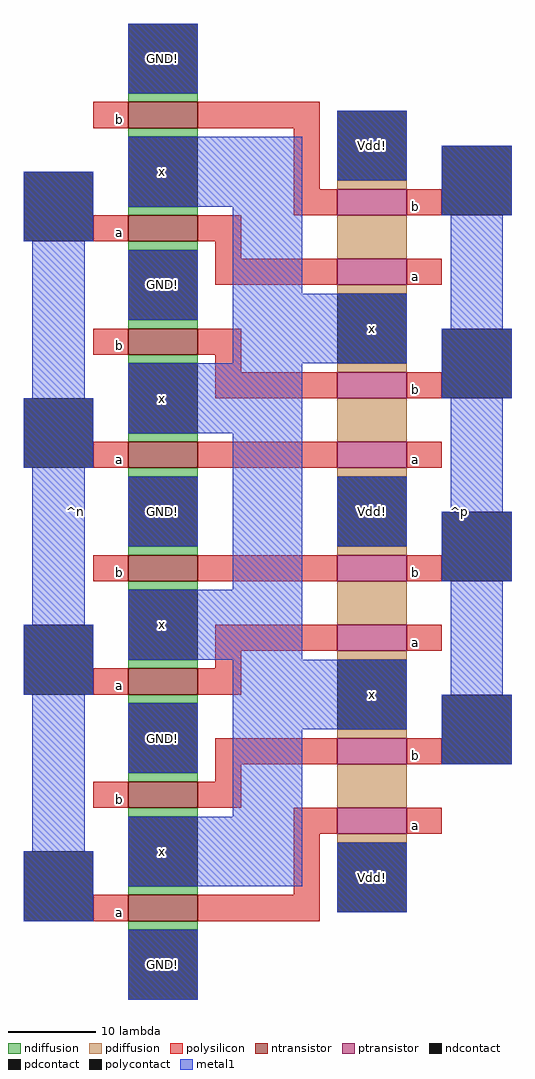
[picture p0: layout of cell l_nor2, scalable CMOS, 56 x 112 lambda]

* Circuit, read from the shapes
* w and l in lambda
.subckt l_nor2 GND! Vdd! a b x
M1 x a GND! VSUBS nfet w=8 l=3 m=4
M2 GND! b x VSUBS nfet w=8 l=3 m=4
M3 n1 a Vdd! NWELL pfet w=8 l=3
M4 x b n1 NWELL pfet w=8 l=3
M5 n2 a x NWELL pfet w=8 l=3
M6 Vdd! b n2 NWELL pfet w=8 l=3
M7 n3 a Vdd! NWELL pfet w=8 l=3
M8 x b n3 NWELL pfet w=8 l=3
M9 n4 a x NWELL pfet w=8 l=3
M10 Vdd! b n4 NWELL pfet w=8 l=3
.ends

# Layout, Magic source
magic
tech scmos
<< ndiffusion >>
rect 198 660 206 661
rect 198 656 206 657
rect 198 647 206 648
rect 198 643 206 644
rect 198 634 206 635
rect 198 630 206 631
rect 198 621 206 622
rect 198 617 206 618
rect 198 608 206 609
rect 198 604 206 605
rect 198 595 206 596
rect 198 591 206 592
rect 198 582 206 583
rect 198 578 206 579
rect 198 569 206 570
rect 198 565 206 566
<< pdiffusion >>
rect 222 650 230 651
rect 222 642 230 647
rect 222 638 230 639
rect 222 629 230 630
rect 222 621 230 626
rect 222 617 230 618
rect 222 608 230 609
rect 222 600 230 605
rect 222 596 230 597
rect 222 587 230 588
rect 222 579 230 584
rect 222 575 230 576
<< ntransistor >>
rect 198 657 206 660
rect 198 644 206 647
rect 198 631 206 634
rect 198 618 206 621
rect 198 605 206 608
rect 198 592 206 595
rect 198 579 206 582
rect 198 566 206 569
<< ptransistor >>
rect 222 647 230 650
rect 222 639 230 642
rect 222 626 230 629
rect 222 618 230 621
rect 222 605 230 608
rect 222 597 230 600
rect 222 584 230 587
rect 222 576 230 579
<< polysilicon >>
rect 194 657 198 660
rect 206 657 220 660
rect 217 650 220 657
rect 217 647 222 650
rect 230 647 234 650
rect 194 644 198 647
rect 206 644 211 647
rect 208 642 211 644
rect 208 639 222 642
rect 230 639 234 642
rect 194 631 198 634
rect 206 631 211 634
rect 208 629 211 631
rect 208 626 222 629
rect 230 626 234 629
rect 194 618 198 621
rect 206 618 222 621
rect 230 618 234 621
rect 194 605 198 608
rect 206 605 222 608
rect 230 605 234 608
rect 208 597 222 600
rect 230 597 234 600
rect 208 595 211 597
rect 194 592 198 595
rect 206 592 211 595
rect 208 584 222 587
rect 230 584 234 587
rect 208 582 211 584
rect 194 579 198 582
rect 206 579 211 582
rect 217 576 222 579
rect 230 576 234 579
rect 217 569 220 576
rect 194 566 198 569
rect 206 566 220 569
<< ndcontact >>
rect 198 661 206 669
rect 198 648 206 656
rect 198 635 206 643
rect 198 622 206 630
rect 198 609 206 617
rect 198 596 206 604
rect 198 583 206 591
rect 198 570 206 578
rect 198 557 206 565
<< pdcontact >>
rect 222 651 230 659
rect 222 630 230 638
rect 222 609 230 617
rect 222 588 230 596
rect 222 567 230 575
<< polycontact >>
rect 186 644 194 652
rect 234 647 242 655
rect 186 618 194 626
rect 234 626 242 634
rect 234 605 242 613
rect 186 592 194 600
rect 234 584 242 592
rect 186 566 194 574
<< metal1 >>
rect 198 661 206 669
rect 186 644 194 652
rect 198 648 218 656
rect 222 651 230 659
rect 187 626 193 644
rect 198 635 206 643
rect 210 638 218 648
rect 234 647 242 655
rect 210 630 230 638
rect 235 634 241 647
rect 186 618 194 626
rect 198 622 218 630
rect 234 626 242 634
rect 187 600 193 618
rect 198 609 206 617
rect 210 604 218 622
rect 222 609 230 617
rect 235 613 241 626
rect 234 605 242 613
rect 186 592 194 600
rect 198 596 218 604
rect 187 574 193 592
rect 198 583 206 591
rect 210 588 230 596
rect 235 592 241 605
rect 210 578 218 588
rect 234 584 242 592
rect 186 566 194 574
rect 198 570 218 578
rect 222 567 230 575
rect 198 557 206 565
<< labels >>
rlabel metal1 202 600 202 600 1 x
rlabel polysilicon 197 606 197 606 1 b
rlabel polysilicon 197 593 197 593 1 a
rlabel polysilicon 197 567 197 567 1 a
rlabel polysilicon 197 580 197 580 1 b
rlabel metal1 202 652 202 652 1 x
rlabel polysilicon 197 658 197 658 1 b
rlabel polysilicon 197 645 197 645 1 a
rlabel metal1 202 626 202 626 5 x
rlabel polysilicon 197 619 197 619 1 a
rlabel polysilicon 197 632 197 632 1 b
rlabel polysilicon 231 606 231 606 7 b
rlabel polysilicon 231 598 231 598 7 a
rlabel polysilicon 231 585 231 585 7 b
rlabel polysilicon 231 577 231 577 7 a
rlabel metal1 226 592 226 592 5 x
rlabel polysilicon 231 619 231 619 7 a
rlabel polysilicon 231 627 231 627 7 b
rlabel polysilicon 231 640 231 640 7 a
rlabel polysilicon 231 648 231 648 7 b
rlabel metal1 226 634 226 634 5 x
rlabel metal1 202 574 202 574 5 x
rlabel metal1 202 665 202 665 5 GND!
rlabel metal1 202 639 202 639 1 GND!
rlabel metal1 202 613 202 613 1 GND!
rlabel metal1 202 587 202 587 1 GND!
rlabel metal1 202 561 202 561 1 GND!
rlabel metal1 226 571 226 571 1 Vdd!
rlabel metal1 226 613 226 613 1 Vdd!
rlabel metal1 226 655 226 655 1 Vdd!
rlabel space 185 556 199 670 7 ^n
rlabel space 229 566 243 660 3 ^p
<< end >>
